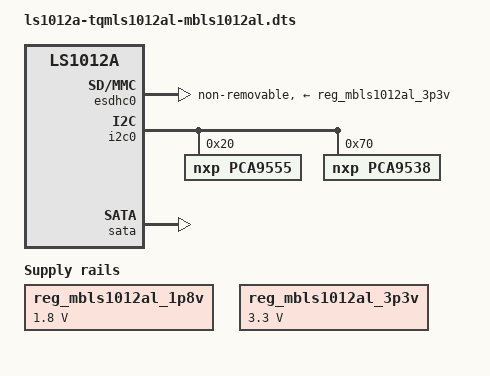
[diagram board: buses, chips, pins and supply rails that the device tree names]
/* SPDX-License-Identifier: GPL-2.0+ */
/*
 * Device Tree file for TQMLS1012AL base board MBLS1012AL
 *
 * (C) Copyright 2018 TQ Systems GmbH
 * Max Merchel <Max.Merchel@tq-group.com>
 */

/dts-v1/;
#include "ls1012a-tqmls1012al.dtsi"

/ {
	aliases {
		i2c0 = &i2c0;
		mmc0 = &esdhc0;
	};

	chosen {
		stdout-path = &duart0;
	};

	reg_mbls1012al_1p8v: regulator_1p8v {
		compatible = "regulator-fixed";
		regulator-name = "supply-1p8v";
		regulator-min-microvolt = <1800000>;
		regulator-max-microvolt = <1800000>;
		regulator-always-on;
	};

	reg_mbls1012al_3p3v: regulator_3p3v {
		compatible = "regulator-fixed";
		regulator-name = "supply-3p3v";
		regulator-min-microvolt = <3300000>;
		regulator-max-microvolt = <3300000>;
		regulator-always-on;
	};
};

&esdhc0 {
	status = "okay";
	vmmc-supply = <&reg_mbls1012al_3p3v>;
	vqmmc-supply = <&reg_mbls1012al_1p8v>;
	disable-wp;
	non-removable;
};

&esdhc1 {
	status ="disabled";
};

&i2c0 {
	status = "okay";

	pca9555: pca9555@20 {
		compatible = "nxp,pca9555";
		reg = <0x20>;
		gpio-controller;
		#gpio-cells = <2>;
	};

	pca9538: pca9538@70 {
		compatible = "nxp,pca9538";
		reg = <0x70>;
		gpio-controller;
		#gpio-cells = <2>;
	};
};

&sata {
	status = "okay";
};
